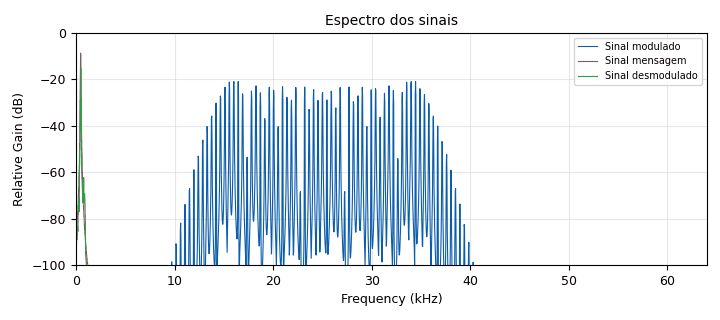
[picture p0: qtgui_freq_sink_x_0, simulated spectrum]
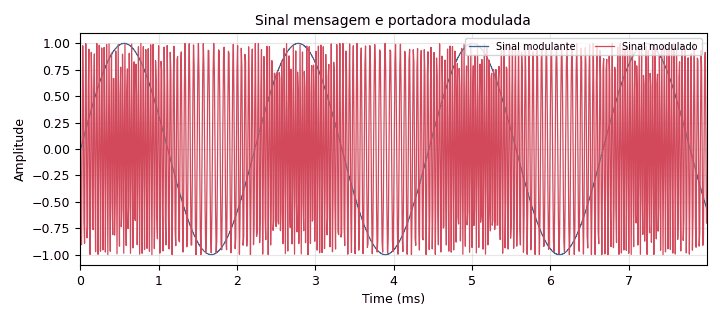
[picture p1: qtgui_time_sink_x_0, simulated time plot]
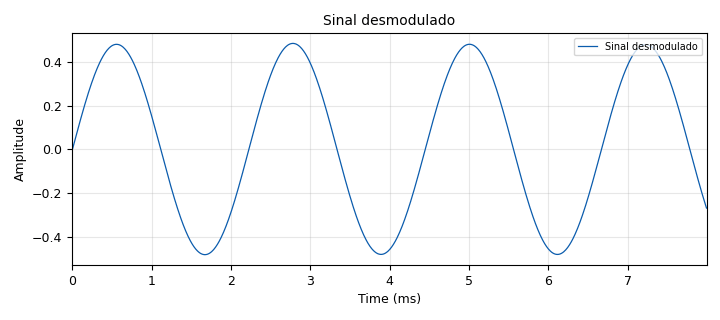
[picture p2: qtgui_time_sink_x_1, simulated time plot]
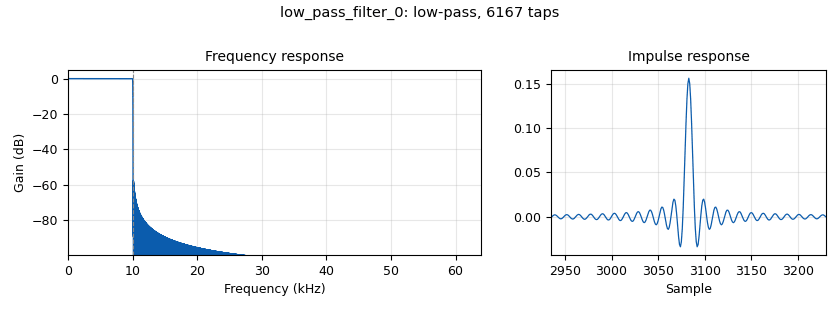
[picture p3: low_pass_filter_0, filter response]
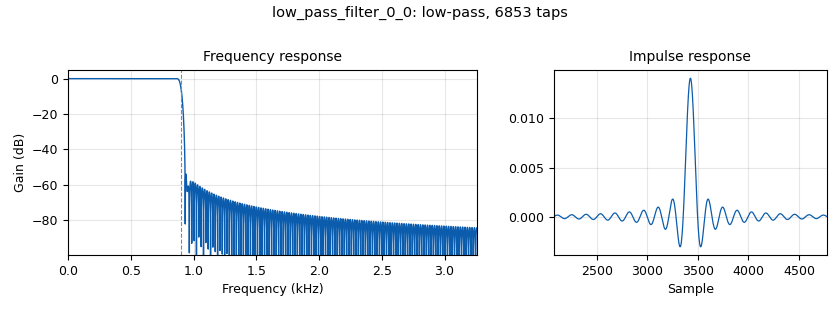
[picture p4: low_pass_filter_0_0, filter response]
options:
  parameters:
    category: Custom
    generate_options: qt_gui
    id: Labo4_2
    output_language: python
    title: FM de Faixa Larga
  states: {}

blocks:
- name: A
  id: variable_qtgui_range
  parameters:
    gui_hint: 0,0,1,1
    label: Amplitude do sinal modulante
    start: '0'
    step: '0.1'
    stop: '2'
    value: '1'
  states: {}
- name: BW
  id: variable_qtgui_range
  parameters:
    label: BW PLL
    start: '1'
    step: '1'
    stop: '200'
    value: '20'
  states: {}
- name: F
  id: variable_qtgui_range
  parameters:
    gui_hint: 0,1,1,1
    label: Frequencia do sinal modulante
    start: '150'
    step: '50'
    stop: '1000'
    value: '450'
  states: {}
- name: Fp
  id: variable_qtgui_range
  parameters:
    gui_hint: 0,2,1,1
    label: Frequencia da portadora
    start: '10000'
    step: '500'
    stop: '32000'
    value: '25000'
  states: {}
- name: samp_rate
  id: variable
  parameters:
    value: '128000'
  states: {}
- name: analog_pll_freqdet_cf_0
  id: analog_pll_freqdet_cf
  parameters:
    max_freq: 2*3.1416*64000/samp_rate
    min_freq: 2*3.1416*1000/samp_rate
    w: 3.1416/BW
  states: {}
- name: analog_sig_source_x_0
  id: analog_sig_source_x
  parameters:
    amp: A
    freq: F
    offset: '0'
    phase: '0'
    samp_rate: samp_rate
    type: float
    waveform: analog.GR_COS_WAVE
  states: {}
- name: blocks_add_const_vxx_0
  id: blocks_add_const_vxx
  parameters:
    const: Fp/10000.0
    type: float
  states: {}
- name: blocks_float_to_complex_0
  id: blocks_float_to_complex
  parameters: {}
  states: {}
- name: blocks_throttle_0
  id: blocks_throttle
  parameters:
    samples_per_second: samp_rate
    type: float
  states: {}
- name: blocks_vco_f_0
  id: blocks_vco_f
  parameters:
    amplitude: '1'
    samp_rate: samp_rate
    sensitivity: 6.28*10**4
  states: {}
- name: dc_blocker_xx_0
  id: dc_blocker_xx
  parameters:
    length: '200'
    long_form: 'True'
    type: ff
  states: {}
- name: low_pass_filter_0
  id: low_pass_filter
  parameters:
    cutoff_freq: '10000'
    decim: '1'
    gain: '1'
    samp_rate: samp_rate
    type: fir_filter_fff
    width: '50'
    win: window.WIN_HAMMING
  states: {}
- name: low_pass_filter_0_0
  id: low_pass_filter
  parameters:
    cutoff_freq: 2*F
    decim: '1'
    gain: '1'
    samp_rate: samp_rate
    type: fir_filter_fff
    width: 0.1*F
    win: window.WIN_HAMMING
  states: {}
- name: qtgui_freq_sink_x_0
  id: qtgui_freq_sink_x
  parameters:
    bw: samp_rate
    fc: '0'
    fftsize: '4096'
    freqhalf: 'False'
    grid: 'True'
    gui_hint: 2,0,1,3
    label1: Sinal modulado
    label2: Sinal mensagem
    label3: Sinal desmodulado
    name: Espectro dos sinais
    nconnections: '3'
    norm_window: 'True'
    showports: 'True'
    type: float
    wintype: window.WIN_HANN
    ymax: '0'
    ymin: '-100'
  states: {}
- name: qtgui_time_sink_x_0
  id: qtgui_time_sink_x
  parameters:
    autoscale: 'True'
    grid: 'True'
    gui_hint: 1,0,1,3
    label1: Sinal modulante
    label2: Sinal modulado
    name: Sinal mensagem e portadora modulada
    nconnections: '2'
    size: '1024'
    srate: samp_rate
    tr_mode: qtgui.TRIG_MODE_AUTO
    type: float
    yunit: V
  states: {}
- name: qtgui_time_sink_x_1
  id: qtgui_time_sink_x
  parameters:
    autoscale: 'True'
    grid: 'True'
    label1: Sinal desmodulado
    name: Sinal desmodulado
    size: '1024'
    srate: samp_rate
    tr_mode: qtgui.TRIG_MODE_AUTO
    type: float
  states: {}

connections:
- [analog_pll_freqdet_cf_0, '0', low_pass_filter_0_0, '0']
- [analog_sig_source_x_0, '0', low_pass_filter_0, '0']
- [blocks_add_const_vxx_0, '0', blocks_vco_f_0, '0']
- [blocks_float_to_complex_0, '0', analog_pll_freqdet_cf_0, '0']
- [blocks_throttle_0, '0', blocks_add_const_vxx_0, '0']
- [blocks_throttle_0, '0', qtgui_time_sink_x_0, '0']
- [blocks_vco_f_0, '0', blocks_float_to_complex_0, '0']
- [blocks_vco_f_0, '0', qtgui_freq_sink_x_0, '0']
- [blocks_vco_f_0, '0', qtgui_time_sink_x_0, '1']
- [dc_blocker_xx_0, '0', qtgui_freq_sink_x_0, '2']
- [dc_blocker_xx_0, '0', qtgui_time_sink_x_1, '0']
- [low_pass_filter_0, '0', blocks_throttle_0, '0']
- [low_pass_filter_0, '0', qtgui_freq_sink_x_0, '1']
- [low_pass_filter_0_0, '0', dc_blocker_xx_0, '0']

metadata:
  file_format: 1
  grc_version: 3.10.7.0
